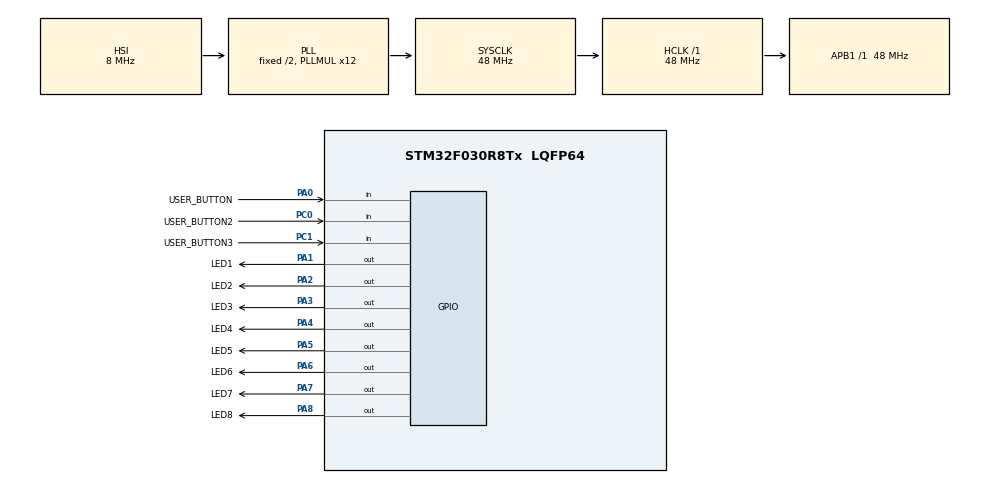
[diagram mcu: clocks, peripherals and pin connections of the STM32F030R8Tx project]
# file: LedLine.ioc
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Mcu.Family=STM32F0
Mcu.Name=STM32F030R8Tx
Mcu.Package=LQFP64
PA0.GPIO_Label=USER_BUTTON
PA0.Signal=GPIO_Input
PA1.GPIO_Label=LED1
PA1.Signal=GPIO_Output
PA13.GPIO_Label=SWDIO
PA13.Mode=Serial_Wire
PA13.Signal=SYS_SWDIO
PA14.GPIO_Label=SWCLK
PA14.Mode=Serial_Wire
PA14.Signal=SYS_SWCLK
PA2.GPIO_Label=LED2
PA2.Signal=GPIO_Output
PA3.GPIO_Label=LED3
PA3.Signal=GPIO_Output
PA4.GPIO_Label=LED4
PA4.Signal=GPIO_Output
PA5.GPIO_Label=LED5
PA5.Signal=GPIO_Output
PA6.GPIO_Label=LED6
PA6.Signal=GPIO_Output
PA7.GPIO_Label=LED7
PA7.Signal=GPIO_Output
PA8.GPIO_Label=LED8
PA8.Signal=GPIO_Output
PC0.GPIO_Label=USER_BUTTON2
PC0.GPIO_PuPd=GPIO_PULLUP
PC0.Signal=GPIO_Input
PC1.GPIO_Label=USER_BUTTON3
PC1.GPIO_PuPd=GPIO_PULLUP
PC1.Signal=GPIO_Input
ProjectManager.HeapSize=0x200
ProjectManager.StackSize=0x400
ProjectManager.TargetToolchain=STM32CubeIDE
RCC.AHBFreq_Value=48000000
RCC.APB1Freq_Value=48000000
RCC.APB1TimFreq_Value=48000000
RCC.HCLKFreq_Value=48000000
RCC.PLLMUL=RCC_PLL_MUL12
RCC.SYSCLKFreq_VALUE=48000000
RCC.SYSCLKSource=RCC_SYSCLKSOURCE_PLLCLK
board=STM32F0308-DISCO

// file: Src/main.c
/* USER CODE BEGIN Header */
/**
  ******************************************************************************
  * @file           : main.c
  * @brief          : Main program body
  ******************************************************************************
  * @attention
  *
  * Copyright (c) 2023 STMicroelectronics.
  * All rights reserved.
  *
  * This software is licensed under terms that can be found in the LICENSE file
  * in the root directory of this software component.
  * If no LICENSE file comes with this software, it is provided AS-IS.
  *
  ******************************************************************************
  */
/* USER CODE END Header */
#include "main.h"
#include "gpio.h"

/* USER CODE BEGIN Includes */
#include <stdbool.h>
/* USER CODE END Includes */

void SystemClock_Config(void);

/* USER CODE BEGIN 0 */

void led_set(int led, bool turn_on);
bool is_button_pressed(int button);

/* USER CODE END 0 */

int main(void)
{

  /* MCU Configuration--------------------------------------------------------*/

  /* Reset of all peripherals, Initializes the Flash interface and the Systick. */
  HAL_Init();

  /* Configure the system clock */
  SystemClock_Config();

  /* Initialize all configured peripherals */
  MX_GPIO_Init();
  /* USER CODE BEGIN 2 */
  int led = 0;
  led_set(led, true);
  /* USER CODE END 2 */

  /* Infinite loop */
  /* USER CODE BEGIN WHILE */
  while (1)
  {
    if (is_button_pressed(0))
    {
      led_set(led, false);
      led++;
      if (led >= 8)
      {
        led = 0;
      }
      led_set(led, true);
      HAL_Delay(10);
      while (is_button_pressed(0)) {}
      HAL_Delay(10);
    }

    if (is_button_pressed(1))
    {
      led_set(led, false);
      led--;
      if (led < 0)
      {
        led = 7;
      }
      led_set(led, true);
      HAL_Delay(20);
      while (is_button_pressed(1)) {}
      HAL_Delay(20);
    }

    if (is_button_pressed(2))
    {
      led_set(led, false);
      led = 0;
      led_set(led, true);
      HAL_Delay(20);
      while (is_button_pressed(2)) {}
      HAL_Delay(20);
    }
    /* USER CODE END WHILE */

  }
}

void SystemClock_Config(void)
{
  RCC_OscInitTypeDef RCC_OscInitStruct = {0};
  RCC_ClkInitTypeDef RCC_ClkInitStruct = {0};

  /** Initializes the RCC Oscillators according to the specified parameters
  * in the RCC_OscInitTypeDef structure.
  */
  RCC_OscInitStruct.OscillatorType = RCC_OSCILLATORTYPE_HSI;
  RCC_OscInitStruct.HSIState = RCC_HSI_ON;
  RCC_OscInitStruct.HSICalibrationValue = RCC_HSICALIBRATION_DEFAULT;
  RCC_OscInitStruct.PLL.PLLState = RCC_PLL_ON;
  RCC_OscInitStruct.PLL.PLLSource = RCC_PLLSOURCE_HSI;
  RCC_OscInitStruct.PLL.PLLMUL = RCC_PLL_MUL12;
  RCC_OscInitStruct.PLL.PREDIV = RCC_PREDIV_DIV1;
  if (HAL_RCC_OscConfig(&RCC_OscInitStruct) != HAL_OK)
  {
    Error_Handler();
  }

  /** Initializes the CPU, AHB and APB buses clocks
  */
  RCC_ClkInitStruct.ClockType = RCC_CLOCKTYPE_HCLK|RCC_CLOCKTYPE_SYSCLK
                              |RCC_CLOCKTYPE_PCLK1;
  RCC_ClkInitStruct.SYSCLKSource = RCC_SYSCLKSOURCE_PLLCLK;
  RCC_ClkInitStruct.AHBCLKDivider = RCC_SYSCLK_DIV1;
  RCC_ClkInitStruct.APB1CLKDivider = RCC_HCLK_DIV1;

  if (HAL_RCC_ClockConfig(&RCC_ClkInitStruct, FLASH_LATENCY_1) != HAL_OK)
  {
    Error_Handler();
  }
}

/* USER CODE BEGIN 4 */
typedef struct
{
  GPIO_TypeDef* port;
  uint16_t pin;
}pin_t;

static const pin_t LED[] = {
  {LED1_GPIO_Port, LED1_Pin},
  {LED2_GPIO_Port, LED2_Pin},
  {LED3_GPIO_Port, LED3_Pin},
  {LED4_GPIO_Port, LED4_Pin},
  {LED5_GPIO_Port, LED5_Pin},
  {LED6_GPIO_Port, LED6_Pin},
  {LED7_GPIO_Port, LED7_Pin},
  {LED8_GPIO_Port, LED8_Pin},
};

void led_set(int led, bool turn_on)
{
  GPIO_PinState state = (turn_on) ? GPIO_PIN_SET : GPIO_PIN_RESET;

  HAL_GPIO_WritePin(LED[led].port, LED[led].pin, state);
}

bool is_button_pressed(int button)
{
  switch (button)
  {
  case 0:
    if (HAL_GPIO_ReadPin(USER_BUTTON_GPIO_Port, USER_BUTTON_Pin) == GPIO_PIN_SET)
    {
      return true;
    }
    else
    {
      return false;
    }
    break;
  case 1:
    // Hardware reversed logic on this button
    if (HAL_GPIO_ReadPin(USER_BUTTON2_GPIO_Port, USER_BUTTON2_Pin) == GPIO_PIN_RESET)
    {
      return true;
    }
    else
    {
      return false;
    }
    break;
  case 2:
    if (HAL_GPIO_ReadPin(USER_BUTTON3_GPIO_Port, USER_BUTTON3_Pin) == GPIO_PIN_RESET)
    {
      return true;
    }
    else
    {
      return false;
    }
    break;
  default:
    return false;
  }
}

/* USER CODE END 4 */

void Error_Handler(void)
{
  __disable_irq();
  while (1)
  {
  }
}
